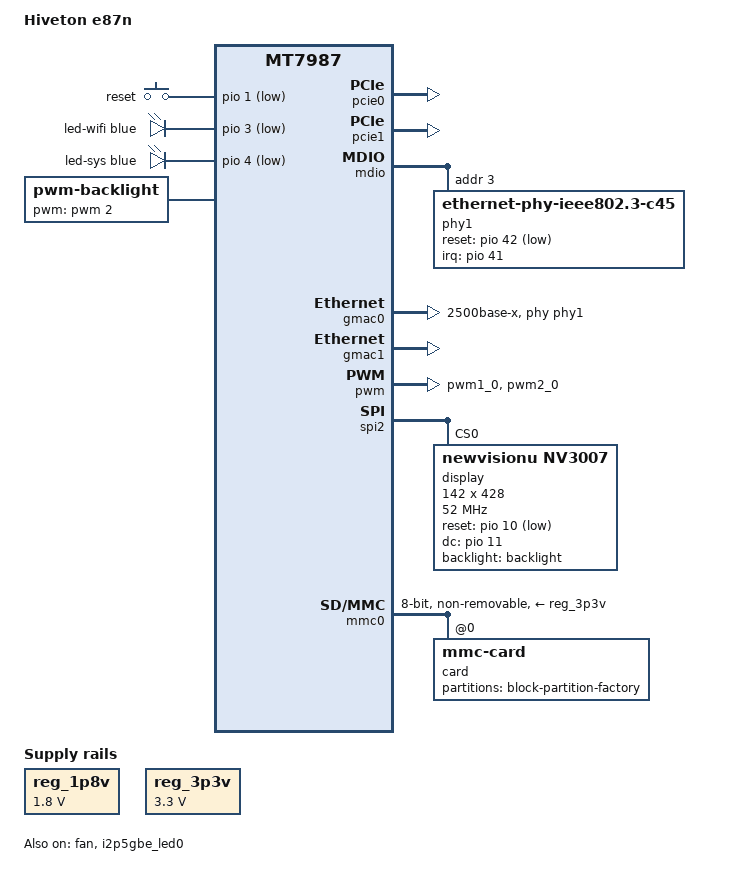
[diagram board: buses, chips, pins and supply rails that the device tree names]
// SPDX-License-Identifier: (GPL-2.0 OR MIT)
/*
 * Copyright (C) 2025 MediaTek Inc.
 * Author: Sam.Shih <sam.shih@mediatek.com>
 */

/dts-v1/;
#include "mt7987a.dtsi"
#include <dt-bindings/input/input.h>
#include <dt-bindings/pwm/pwm.h>
#include <dt-bindings/gpio/gpio.h>
#include <dt-bindings/leds/common.h>

/ {
	model = "Hiveton e87n";
	compatible = "hiveton,e87n", "mediatek,mt7987";

	aliases {
		serial0 = &uart0;
	};

	chosen {
		// stdout-path = "serial0:115200n8";
		bootargs = "console=ttyS0,115200n1 fbcon=map:off fbcon=disable root=PARTLABEL=rootfs rootwait rootfstype=squashfs,f2fs";
	};

	gpio-keys {
		compatible = "gpio-keys";

		reset {
			label = "reset";
			linux,code = <KEY_RESTART>;
			gpios = <&pio 1 GPIO_ACTIVE_LOW>;
			debounce-interval = <10>;
		};
	};

	leds {
		compatible = "gpio-leds";
		led-wifi {
			gpios = <&pio 3 GPIO_ACTIVE_LOW>;
			color = <LED_COLOR_ID_BLUE>;
			function = LED_FUNCTION_STATUS;
		};

		led-sys {
			gpios = <&pio 4 GPIO_ACTIVE_LOW>;
			color = <LED_COLOR_ID_BLUE>;
			function = LED_FUNCTION_POWER;
		};
	};

	backlight: backlight {
		compatible = "pwm-backlight";
		pwms = <&pwm 2 50000 PWM_POLARITY_INVERTED>;
		brightness-levels = <0 6 8 12 16 24 32 40 48 64 96 128 160 192 224 255>;
						   /*0 1 2 3  4  5  6  7  8  9  10 11  12  13  14  15 */
		default-brightness-level = <15>;
	};

	reg_1p8v: regulator-1p8v {
		compatible = "regulator-fixed";
		regulator-name = "fixed-1.8V";
		regulator-min-microvolt = <1800000>;
		regulator-max-microvolt = <1800000>;
		regulator-boot-on;
		regulator-always-on;
	};

	reg_3p3v: regulator-3p3v {
		compatible = "regulator-fixed";
		regulator-name = "fixed-3.3V";
		regulator-min-microvolt = <3300000>;
		regulator-max-microvolt = <3300000>;
		regulator-boot-on;
		regulator-always-on;
	};
};

&pcie0 {
	status = "okay";
};

&pcie1 {
	status = "okay";
};

&fan {
	compatible = "pwm-fan";
	#cooling-cells = <2>;
	cooling-levels = <0 30 60 90 120 150 180 210 230 245 255>;
				   /* 0  1  2  3  4   5   6   7   8   9  10 */
	pwms = <&pwm 1 50000 0>;
	status = "okay";
};

&mdio {
	phy1: phy@1 {
		compatible = "ethernet-phy-ieee802.3-c45";
		reg = <3>;
		reset-assert-us = <100000>;
		reset-deassert-us = <100000>;
		reset-gpios = <&pio 42 GPIO_ACTIVE_LOW>;
		interrupts = <41 IRQ_TYPE_LEVEL_LOW>;
		interrupt-parent = <&pio>;
		realtek,aldps-enable;
		realtek,led-link-select = <0xa7 0xa7 0x0>; /* led0 at 10/100/1000/2.5G/(2.5G lite), led1 at 10/100/1000/2.5G/(2.5G lite) */
		realtek,led-act-select = <0x321b>; /* led on time = 400ms, duty = 12.5%, freq = 60ms, Enable 10M LPI, modeA, led0 led1 act */
	};
};

&gmac0 {
	phy-mode = "2500base-x";
	phy-handle = <&phy1>;
	status = "okay";
};

&gmac1 {
	status = "okay";
};

&i2p5gbe_led0 {
	status = "okay";
	function = LED_FUNCTION_WAN;
};

&cpu_thermal {
	cooling-maps  {
		cpu-active-high {
		/* active: set fan to cooling level 2 */
			cooling-device = <&fan 10 10>;
			trip = <&cpu_trip_active_high>;
		};

		cpu-active-low {
		/* active: set fan to cooling level 1 */
			cooling-device = <&fan 6 6>;
			trip = <&cpu_trip_active_med>;
		};

		cpu-passive {
		/* passive: set fan to cooling level 0 */
			cooling-device = <&fan 3 3>;
			trip = <&cpu_trip_active_low>;
		};
	};
};

&pio {
	pwm_pins: pwm-pins {
		mux {
			function = "pwm";
			groups = "pwm1_0", "pwm2_0";
		};
	};
};

&pwm {
	status = "okay";
	pinctrl-names = "default";
	pinctrl-0 = <&pwm_pins>;
};

&spi2 {
	pinctrl-names = "default";
	pinctrl-0 = <&spi2_flash_pins>;
	status = "okay";

	display@0 {
		compatible = "newvisionu,nv3007";
		reg = <0>;

		regwidth = <8>;
		buswidth = <8>;
		height = <428>;
		width = <142>;
		fps = <100>;
		rotate = <90>;
		reset-gpios = <&pio 10 GPIO_ACTIVE_LOW>;
		dc-gpios = <&pio 11 GPIO_ACTIVE_HIGH>;
		backlight = <&backlight>;
		spi-max-frequency = <52000000>;
		status = "okay";
	};
};

&mmc0 {
	pinctrl-names = "default", "state_uhs";
	pinctrl-0 = <&mmc_pins_default>;
	pinctrl-1 = <&mmc_pins_uhs>;
	bus-width = <8>;
	max-frequency = <48000000>;
	cap-mmc-highspeed;
	vmmc-supply = <&reg_3p3v>;
	non-removable;
	status = "okay";

	card@0 {
		compatible = "mmc-card";
		reg = <0>;

		block {
			compatible = "block-device";

			partitions {
				block-partition-factory {
					partname = "factory";

					nvmem-layout {
						compatible = "fixed-layout";
						#address-cells = <1>;
						#size-cells = <1>;

						eeprom_factory_0: eeprom@0 {
							reg = <0x0 0x1000>;
						};

						macaddr_factory_24: macaddr@24 {
							compatible = "mac-base";
							reg = <0x24 0x6>;
							#nvmem-cell-cells = <1>;
						};

						macaddr_factory_2a: macaddr@2a {
							compatible = "mac-base";
							reg = <0x2a 0x6>;
							#nvmem-cell-cells = <1>;
						};
					};
				};
			};
		};
	};
};
